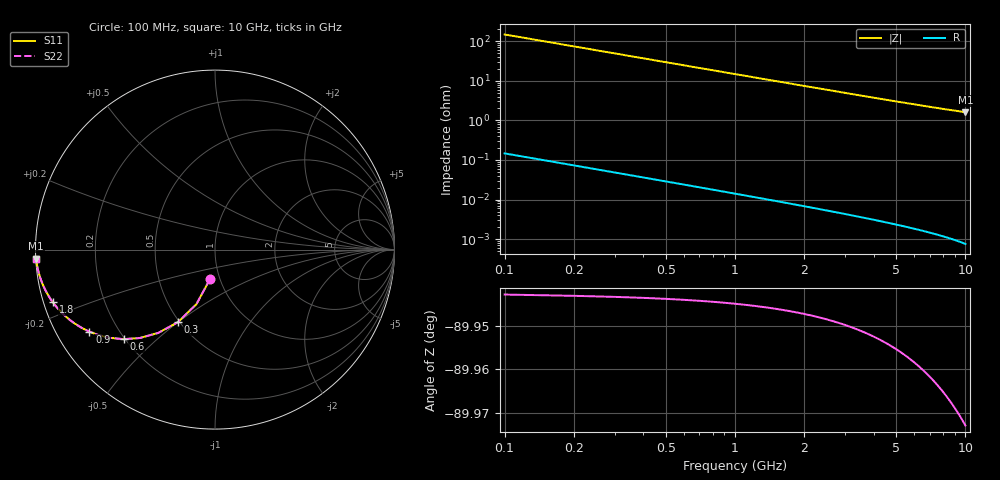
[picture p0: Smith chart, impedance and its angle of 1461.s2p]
# Hz S RI R 50.00
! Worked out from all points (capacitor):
!   100 points, 100 MHz to 10 GHz, reference 50 ohm
!   read as one part in shunt: C = 10.8 pF near 100 MHz
!   lowest |Z| = 1.61 ohm at 10 GHz (marker M1)
!   S11 on the Smith chart (normalised r, x): 100 MHz: 0.90, -0.30; 300 MHz: 0.49, -0.50; 600 MHz: 0.19, -0.39; 900 MHz: 0.10, -0.30; 1.8 GHz: 0.03, -0.16; 10 GHz: 0.00, -0.02
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1e8  -0.0282 -0.1649  0.9718 -0.1651  0.9718 -0.1651  -0.0282 -0.1649
2e8  -0.1036 -0.3042  0.8963 -0.3045  0.8963 -0.3045  -0.1036 -0.3042
3e8  -0.2063 -0.4039  0.7937 -0.4043  0.7937 -0.4043  -0.2063 -0.4039
4e8  -0.3159 -0.4641  0.6841 -0.4646  0.6841 -0.4646  -0.3159 -0.4641
5e8  -0.419 -0.4926  0.581 -0.4932  0.581 -0.4932  -0.419 -0.4926
6e8  -0.5093 -0.499  0.4906 -0.4998  0.4906 -0.4998  -0.5093 -0.499
7e8  -0.5854 -0.4917  0.4145 -0.4926  0.4145 -0.4926  -0.5854 -0.4917
8e8  -0.6484 -0.4764  0.3516 -0.4775  0.3516 -0.4775  -0.6484 -0.4764
9e8  -0.7 -0.4571  0.3 -0.4584  0.3 -0.4584  -0.7 -0.4571
1.1e9  -0.777 -0.415  0.223 -0.4165  0.223 -0.4165  -0.777 -0.415
1.3e9  -0.8294 -0.3747  0.1705 -0.3765  0.1705 -0.3765  -0.8294 -0.3747
1.5e9  -0.8662 -0.3389  0.1338 -0.3409  0.1338 -0.3409  -0.8662 -0.3389
1.8e9  -0.903 -0.2941  0.0969 -0.2966  0.0969 -0.2966  -0.903 -0.2941
2.1e9  -0.9269 -0.2584  0.0731 -0.2612  0.0731 -0.2612  -0.9269 -0.2584
2.5e9  -0.9472 -0.2213  0.0527 -0.2247  0.0527 -0.2247  -0.9472 -0.2213
2.9e9  -0.9602 -0.1928  0.0397 -0.1968  0.0397 -0.1968  -0.9602 -0.1928
3.4e9  -0.9708 -0.1655  0.0292 -0.1702  0.0292 -0.1702  -0.9708 -0.1655
4.2e9  -0.9806 -0.1342  0.0193 -0.14  0.0193 -0.14  -0.9806 -0.1342
5.1e9  -0.9868 -0.1098  0.0131 -0.1169  0.0131 -0.1169  -0.9868 -0.1098
6.7e9  -0.9923 -0.0816  0.00754 -0.091  0.00754 -0.091  -0.9923 -0.0816
8.4e9  -0.9951 -0.0624  0.00471 -0.0744  0.00471 -0.0744  -0.9951 -0.0624
1e10  -0.9966 -0.0497  0.00323 -0.0641  0.00323 -0.0641  -0.9966 -0.0497
